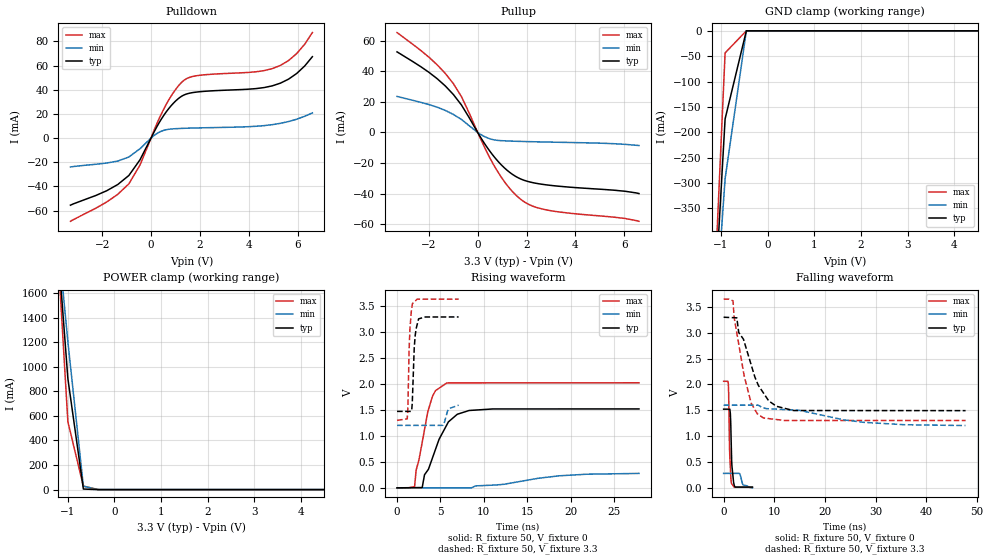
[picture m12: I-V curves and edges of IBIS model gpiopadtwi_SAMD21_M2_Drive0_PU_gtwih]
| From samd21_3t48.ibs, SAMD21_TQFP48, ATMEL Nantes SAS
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|   MODEL : gpiopadtwi_SAMD21_M2_Drive0_PU_gtwih
[Model] gpiopadtwi_SAMD21_M2_Drive0_PU_gtwih
Model_type I/O
Vinl  =  0.99
Vinh  =  2.31
Vmeas =  1.650
| Capacitance   typ   min   max
C_comp   2.11628p   2.07645p   2.27864p
| Variables   typ   min   max
[GND Clamp Reference]   0   0   0
[POWER Clamp Reference]   3.3   1.6   3.65
[Pulldown Reference]   0   0   0
[Pullup Reference]   3.3   1.6   3.65
[Temperature Range]   25   105   -40
[Voltage Range]   3.3   1.6   3.65
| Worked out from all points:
|   slope of the pulldown table from 0 to 0.495 V, typ, clamps not added: 27.5 ohm
|   slope of the pullup table from 0 to 0.495 V, typ, clamps not added: 40.8 ohm
|   falling waveform, R_fixture 50, V_fixture 0: 20-80 % time 338ps typ, 545ps min, 293ps max; typ from 1.52 V to 0.016 V
|   falling waveform, R_fixture 50, V_fixture 3.3: 20-80 % time 4.27ns typ, 15.5ns min, 2.81ns max; typ from 3.3 V to 1.49 V
|   rising waveform, R_fixture 50, V_fixture 0: 20-80 % time 2.36ns typ, 6.79ns min, 1.52ns max; typ from 0 V to 1.52 V
|   rising waveform, R_fixture 50, V_fixture 3.3: 20-80 % time 291ps typ, 457ps min, 256ps max; typ from 1.47 V to 3.29 V
[GND Clamp]
| Voltage   I(typ)   I(min)   I(max)
-3.3V     -4.106A    -3.499A    -5.011A
-1.364V   -914.6mA   -889.8mA   -975.5mA
-909.1mV  -173.7mA   -291.7mA   -43.52mA
-454.5mV  -47.53uA   -116.4uA   -24.85uA
6.6V      0A         0A         0A
[POWER Clamp]
| Voltage   I(typ)   I(min)   I(max)
-3.3V     12.74A     10.56A     15.65A
-1.327V   2.569A     2.518A     2.685A
-995.5mV  903.4mA    1.204A     552.5mA
-663.6mV  4.689mA    27.86mA    28.57mA
-331.8mV  6.914uA    27.61uA    273.2uA
6.6V      0A         0A         0A
[Pulldown]
| Voltage   I(typ)   I(min)   I(max)
-3.3V     -55.55mA   -23.94mA   -68.88mA
-1.818V   -43.63mA   -20.7mA    -52.94mA
-909.1mV  -30.98mA   -15.68mA   -37.89mA
-454.5mV  -18.04mA   -8.89mA    -22.41mA
154.7mV   6.272mA    2.59mA     7.905mA
567.2mV   20.14mA    6.629mA    25.86mA
979.7mV   30.15mA    7.712mA    39.51mA
1.341V    35.55mA    8.051mA    47.68mA
1.959V    38.25mA    8.397mA    51.83mA
4.959V    43.17mA    11.07mA    57.42mA
5.955V    53.35mA    15.56mA    69.8mA
6.6V      67.29mA    20.81mA    87.26mA
[Pullup]
| Voltage   I(typ)   I(min)   I(max)
-3.3V     52.59mA    23.53mA    65.18mA
-1.991V   39.2mA     18.18mA    49.05mA
-1.327V   30.39mA    14.41mA    38.57mA
-995.5mV  24.79mA    11.78mA    31.87mA
-663.6mV  17.93mA    8.464mA    23.38mA
103.1mV   -2.756mA   -1.095mA   -3.561mA
670.3mV   -15.78mA   -4.81mA    -21.55mA
1.238V    -25.1mA    -5.553mA   -35.09mA
1.753V    -30.28mA   -5.829mA   -43.5mA
2.217V    -32.6mA    -6.025mA   -47.84mA
2.888V    -34.34mA   -6.261mA   -50.75mA
6.6V      -39.86mA   -8.525mA   -57.96mA
[Ramp]
dV/dt_r   0.913465/2.36031n  0.168178/6.85193n  1.23694/1.55959n
dV/dt_f   1.09661/4.35298n  0.238315/15.5212n  1.41004/2.81609n
R_load = 50
[Falling Waveform]
R_fixture = 50
V_fixture = 0
V_fixture_min = 0
V_fixture_max = 0
| Time   V(typ)   V(min)   V(max)
0s        1.522V     280.3mV    2.062V
924.6ps   1.522V     280.3mV    2.018V
990.1ps   1.522V     280.3mV    1.841V
1.154ns   1.522V     280.3mV    809.5mV
1.332ns   1.434V     280.3mV    385.8mV
1.532ns   735.2mV    280.3mV    87.44mV
1.638ns   425.1mV    280.3mV    73.35mV
2.111ns   39.53mV    280.3mV    11.66mV
3.835ns   16.17mV    58.56mV    11.6mV
5.679ns   16.09mV    1.178mV    11.54mV
[Falling Waveform]
R_fixture = 50
V_fixture = 3.3
V_fixture_min = 1.6
V_fixture_max = 3.65
| Time   V(typ)   V(min)   V(max)
0s        3.3V       1.6V       3.65V
1.852ns   3.292V     1.6V       3.616V
2.078ns   3.291V     1.6V       3.294V
2.605ns   3.288V     1.6V       2.993V
2.976ns   3.006V     1.6V       2.782V
4.061ns   2.827V     1.6V       2.163V
5.439ns   2.379V     1.6V       1.639V
7.873ns   1.833V     1.546V     1.352V
13.77ns   1.496V     1.507V     1.304V
47.74ns   1.494V     1.206V     1.303V
[Rising Waveform]
R_fixture = 50
V_fixture = 0
V_fixture_min = 0
V_fixture_max = 0
| Time   V(typ)   V(min)   V(max)
0s        14.43nV    95.58nV    12.15nV
2.023ns   4.416mV    95.58nV    23.2mV
2.202ns   4.805mV    95.58nV    340.8mV
2.9ns     6.33mV     95.58nV    878.1mV
3.166ns   251.7mV    95.58nV    1.12V
4.071ns   571.4mV    95.58nV    1.756V
5.741ns   1.215V     95.58nV    2.021V
8.299ns   1.49V      95.58nV    2.021V
18.65ns   1.519V     231.8mV    2.022V
27.87ns   1.52V      278mV      2.023V
[Rising Waveform]
R_fixture = 50
V_fixture = 3.3
V_fixture_min = 1.6
V_fixture_max = 3.65
| Time   V(typ)   V(min)   V(max)
0s        1.472V     1.203V     1.3V
1.176ns   1.472V     1.203V     1.328V
1.267ns   1.472V     1.203V     1.644V
1.387ns   1.472V     1.203V     2.622V
1.481ns   1.472V     1.203V     3.045V
1.776ns   1.726V     1.203V     3.547V
1.983ns   2.7V       1.203V     3.58V
2.485ns   3.255V     1.203V     3.634V
5.301ns   3.29V      1.205V     3.634V
7.095ns   3.29V      1.593V     3.634V
[Add Submodel]
| Submodel Name Mode
M2_Drive0_PU_gtwih_T Non-Driving
